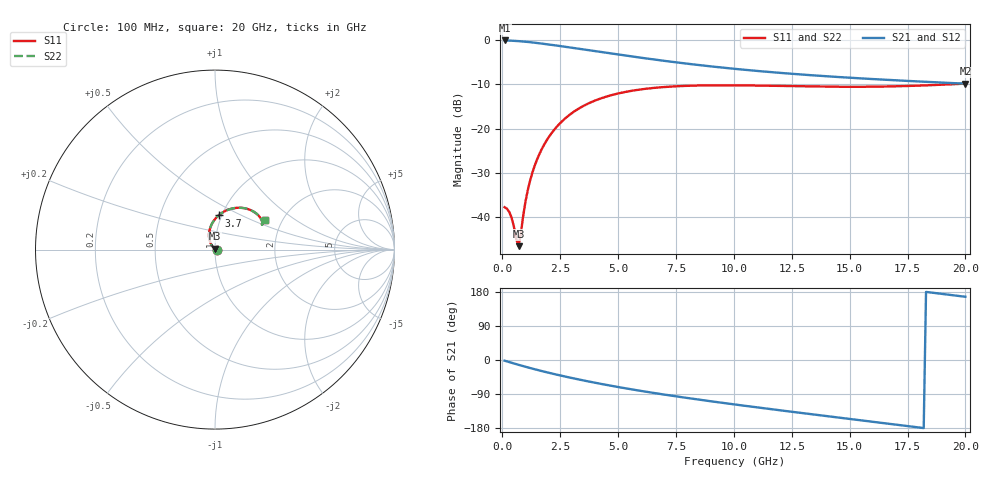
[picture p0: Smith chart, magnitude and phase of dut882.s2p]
! Touchstone file exported from HFSS 2024.1.0
!  File:  C:/UserFiles/LocalFiles/RDL_TSV_Batchsim/temp_RDL_TSV_882_1779930240.aedt
!  Generated:  09:16:57 AM May 28, 2026
!  Design:  RDL_TSV
!  Project:  temp_RDL_TSV_882_1779930240
!  Setup:  Setup1
!  Solution:  Sweep
! Variables:
!  dtsv = 10.18um
!  hbump = 3um
!  htsv = 99.55um
!  ldown = 528.63um
!  lrdl = 202.39um
!  p = 40
!  p1 = 55.67um
!  rhole = 10um
!  subl = 2395.45um
!  t = 450um
!  tdown = 4.61um
!  trdl = 3.6um
!  viad = 10um
!  wdown = 15.96um
!  wrdl = 16.62um
!  xbump = 18um
# GHz S MA R 50.000000
! Terminal data exported
! Port[1] = TM1_1_T1
! Port[2] = TM1_4_T1
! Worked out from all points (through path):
!   200 points, 100 MHz to 20 GHz, reference 50 ohm
!   highest |S21| = -0.12 dB at 100 MHz (marker M1); lowest = -9.9 dB at 20 GHz (marker M2)
!   group delay of S21, straight-line fit = 24.9 ps
!   lowest |S11| = -46.5 dB at 700 MHz (marker M3), VSWR 1.01, Z = 50.2 + j0.434 ohm
!   |S11| at or under -10 dB: start of sweep to 19.37 GHz
!   |S22| runs from -46.5 to -9.8 dB; largest |S21 - S12| = 1.1e-14
!   S11 on the Smith chart (normalised r, x): 100 MHz: 1.03, +0.00; 3.7 GHz: 0.97, +0.38; 20 GHz: 1.63, +0.60
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0.1  0.01305 1.5  0.9863 -1.9  0.9863 -1.9  0.01305 1.5
! Gamma 0 0 0 0
! Port Impedance 50 0 50 0
0.3  0.01153 4.1  0.9829 -5.5  0.9829 -5.5  0.01153 4.1
0.4  0.009956 6.7  0.9803 -7.3  0.9803 -7.3  0.009957 6.7
0.6  0.005762 29.1  0.9735 -10.9  0.9735 -10.9  0.005763 29.1
0.7  0.004747 65.6  0.9694 -12.7  0.9694 -12.7  0.004745 65.5
0.8  0.006542 102.4  0.9649 -14.4  0.9649 -14.4  0.006535 102.3
1  0.01502 125.0  0.9546 -17.8  0.9546 -17.8  0.015 125.0
1.1  0.02028 127.2  0.9489 -19.5  0.9489 -19.5  0.02027 127.2
1.3  0.03202 126.9  0.9367 -22.8  0.9367 -22.8  0.03199 126.9
1.6  0.05164 122.4  0.9169 -27.6  0.9169 -27.6  0.05161 122.4
2  0.07982 114.6  0.8889 -33.6  0.8889 -33.6  0.07977 114.7
2.4  0.1085 106.7  0.8601 -39.4  0.8601 -39.4  0.1084 106.7
2.9  0.1429 97.3  0.8242 -46.2  0.8242 -46.2  0.1429 97.3
3.5  0.1802 87.1  0.7821 -53.9  0.7821 -53.9  0.1802 87.2
3.7  0.1914 84.0  0.7685 -56.3  0.7685 -56.3  0.1914 84.1
5  0.2492 66.9  0.6856 -71.3  0.6856 -71.3  0.2492 67.0
6.8  0.292 50.3  0.5902 -89.4  0.5902 -89.4  0.292 50.3
8.4  0.3063 40.4  0.5244 -103.8  0.5244 -103.8  0.3063 40.4
10.1  0.308 33.5  0.4706 -117.9  0.4706 -117.9  0.308 33.5
13.4  0.2986 28.0  0.3994 -143.5  0.3994 -143.5  0.2986 28.0
16.7  0.2992 29.0  0.354 -168.3  0.354 -168.3  0.2991 28.9
20  0.3221 30.8  0.3214 166.8  0.3214 166.8  0.3219 30.8
